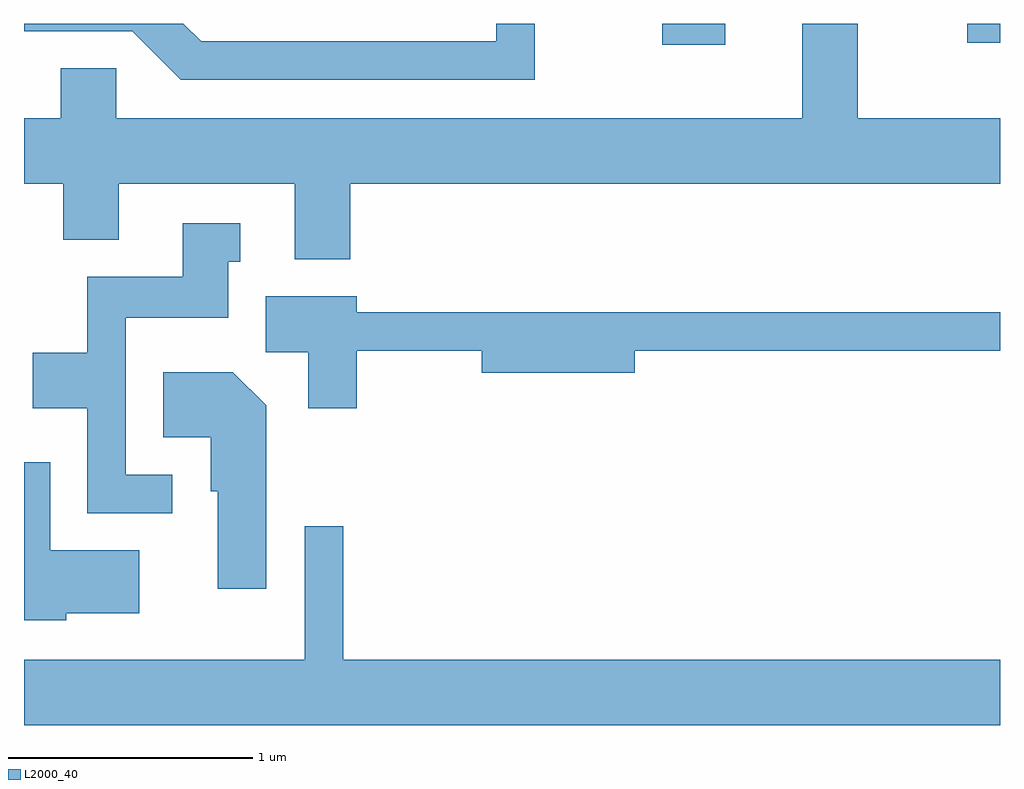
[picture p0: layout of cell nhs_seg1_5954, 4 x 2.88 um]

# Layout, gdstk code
import gdstk
lib = gdstk.Library(unit=1e-6, precision=1e-09)
def R(c, l, rs):  # rectangles x0, y0, x1, y1
    for r in rs: c.add(gdstk.rectangle(r[:2], r[2:], *l))
def P(c, l, *ps):  # polygons
    for p in ps: c.add(gdstk.Polygon(p, *l))
L2000_40 = (2000, 40)

nhs_seg1_5954 = lib.new_cell('nhs_seg1_5954')
R(nhs_seg1_5954, L2000_40, [(366.226,975.626,366.484,975.712), (367.476,975.633,367.611,975.712)])
P(nhs_seg1_5954, L2000_40, [(364.949,975.056),(367.611,975.056),(367.611,975.324),(367.029,975.324),(367.029,975.712),(366.801,975.712),(366.801,975.324),(363.989,975.324),(363.989,975.529),(363.761,975.529),(363.761,975.324),(363.611,975.324),(363.611,975.056),(363.771,975.056),(363.771,974.826),(363.999,974.826),(363.999,975.056),(364.721,975.056),(364.721,974.746),(364.949,974.746)],
  [(365.704,975.712),(365.546,975.712),(365.546,975.639),(364.337,975.639),(364.264,975.712),(363.611,975.712),(363.611,975.681),(364.054,975.681),(364.254,975.481),(365.704,975.481)],
  [(364.218,973.864),(364.029,973.864),(364.029,974.506),(364.449,974.506),(364.449,974.736),(364.498,974.736),(364.498,974.894),(364.261,974.894),(364.261,974.674),(363.871,974.674),(363.871,974.364),(363.646,974.364),(363.646,974.136),(363.871,974.136),(363.871,973.706),(364.218,973.706)],
  [(364.974,974.371),(365.486,974.371),(365.486,974.281),(366.114,974.281),(366.114,974.371),(367.611,974.371),(367.611,974.529),(364.974,974.529),(364.974,974.594),(364.601,974.594),(364.601,974.366),(364.776,974.366),(364.776,974.136),(364.974,974.136)],
  [(364.604,974.147),(364.467,974.284),(364.181,974.284),(364.181,974.016),(364.376,974.016),(364.376,973.796),(364.406,973.796),(364.406,973.396),(364.604,973.396)],
  [(363.784,973.296),(364.084,973.296),(364.084,973.554),(363.719,973.554),(363.719,973.914),(363.611,973.914),(363.611,973.266),(363.784,973.266)],
  [(367.611,973.104),(364.919,973.104),(364.919,973.653),(364.761,973.653),(364.761,973.104),(363.611,973.104),(363.611,972.836),(367.611,972.836)])

lib.write_gds('nhs_seg1_5954.gds')
